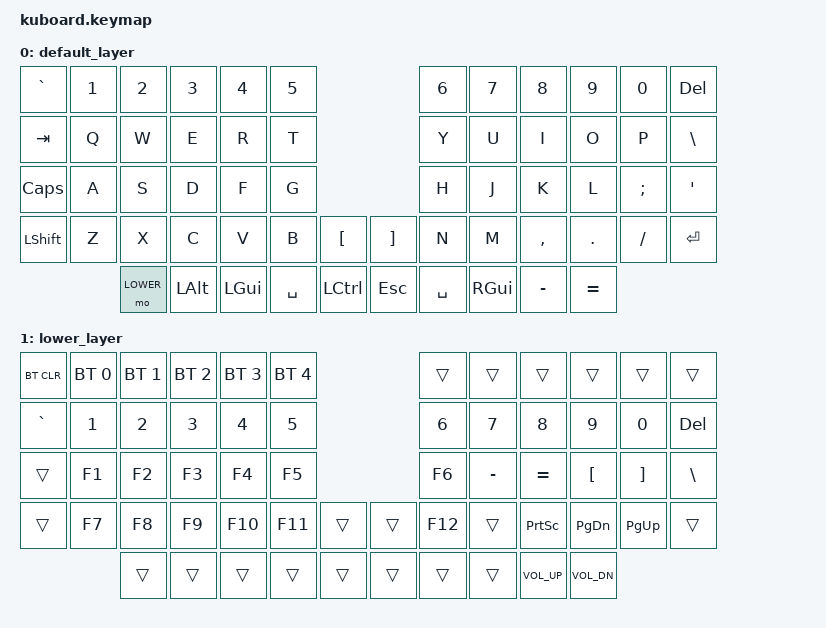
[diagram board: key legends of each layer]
/*
 * Copyright (c) 2020 The ZMK Contributors
 *
 * SPDX-License-Identifier: MIT
 */

 #include <behaviors.dtsi>
 #include <dt-bindings/zmk/keys.h>
 #include <dt-bindings/zmk/bt.h>
 #include <dt-bindings/zmk/ext_power.h>
 #include <dt-bindings/zmk/outputs.h>

 #define DEFAULT 0
 #define LOWER  1


/ {
       keymap {
              compatible = "zmk,keymap";

              default_layer {
 // ---------------------------------------------------------------------------------------------------------------------------------
 // | GRAVE  |   1    |   2    |   3    |   4    |   5    |                                      |   6    |   7    |   8    |   9    |   0    |  DEL   |
 // |  TAB   |   Q    |   W    |   E    |   R    |   T    |                                      |   Y    |   U    |   I    |   O    |   P    |   \    |
 // |  CAPS  |   A    |   S    |   D    |   F    |   G    |                                      |   H    |   J    |   K    |   L    |   ;    |   '    |
 // |  SHIFT |   Z    |   X    |   C    |   V    |   B    |  LBKT  |                    |  RBKT  |   N    |   M    |   ,    |   .    |   /    |  RET   |
 //                   | LOWER  |  ALT   |  LGUI  | SPACE  |  CTRL  |                    |  ESC   | SPACE  |  RGUI  |   -    |   =    |
                     bindings = <
       &kp GRAVE  &kp N1  &kp N2   &kp N3   &kp N4    &kp N5                               &kp N6    &kp N7    &kp N8    &kp N9     &kp N0    &kp DEL
       &kp TAB    &kp Q   &kp W    &kp E    &kp R     &kp T                                &kp Y     &kp U     &kp I     &kp O      &kp P     &kp BSLH
       &kp CAPS   &kp A   &kp S    &kp D    &kp F     &kp G                                &kp H     &kp J     &kp K     &kp L      &kp SEMI  &kp SQT
       &kp LSHFT  &kp Z   &kp X    &kp C    &kp V     &kp B     &kp LBKT         &kp RBKT  &kp N     &kp M     &kp COMMA &kp PERIOD &kp SLASH &kp RET
                          &mo LOWER &kp LALT &kp LGUI &kp SPACE &kp LCTRL        &kp ESC   &kp SPACE &kp RGUI  &kp MINUS  &kp EQUAL   
                     >;
              };
              lower_layer {
 // ---------------------------------------------------------------------------------------------------------------------------------
 // | BTCLR |  BT1  |  BT2  |  BT3  |  BT4  |  BT5  |                                    |       |       |       |       |       |       |
 // |   `   |   1   |   2   |   3   |   4   |   5   |                                    |   6   |   7   |   8   |   9   |   0   |  DEL  |
 // |       |  F1   |  F2   |  F3   |  F4   |  F5   |                                    |  F6   |       |       |       |       |       |
 // |       |  F7   |  F8   |  F9   |  F10  |  F11  |       |                    |       |  F12  |       | PSCRN | PG_DN | PG_UP |       |
 //                 |       |       |       |       |       |                    |       |       |       | VOL+  | VOL-  |
                     bindings = <
       &bt BT_CLR &bt BT_SEL 0 &bt BT_SEL 1 &bt BT_SEL 2 &bt BT_SEL 3 &bt BT_SEL 4              &trans  &trans    &trans     &trans       &trans       &trans
       &kp GRAVE  &kp N1      &kp N2     &kp N3     &kp N4      &kp N5                          &kp N6  &kp N7    &kp N8     &kp N9       &kp N0       &kp DEL
       &trans     &kp F1      &kp F2     &kp F3     &kp F4      &kp F5                          &kp F6  &kp MINUS &kp EQUAL  &kp LBKT     &kp RBKT     &kp BSLH
       &trans     &kp F7      &kp F8     &kp F9     &kp F10     &kp F11    &trans        &trans &kp F12 &trans    &kp PSCRN  &kp PG_DN    &kp PG_UP    &trans
                              &trans      &trans     &trans     &trans     &trans        &trans &trans  &trans    &kp C_VOL_UP &kp C_VOL_DN 
                     >;
              };
       };
};
